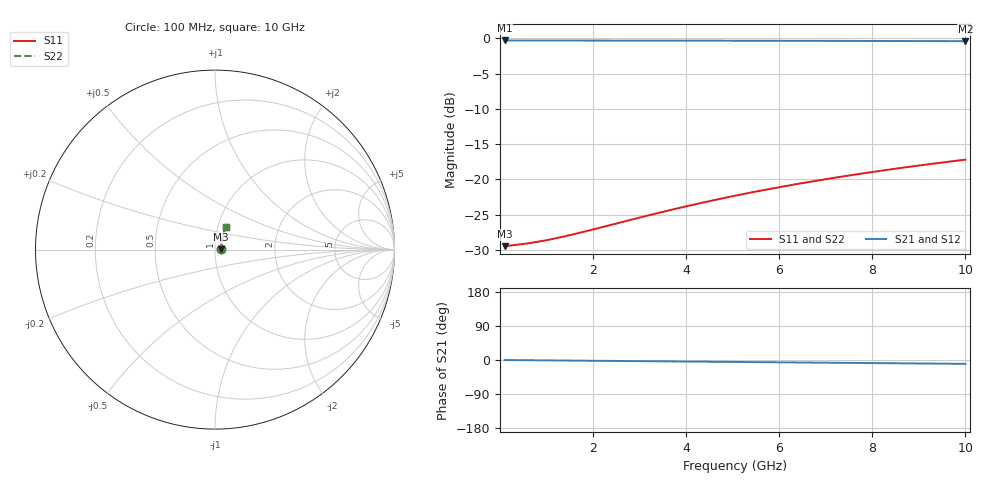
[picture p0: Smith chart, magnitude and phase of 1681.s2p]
# Hz S RI R 50.00
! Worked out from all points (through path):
!   100 points, 100 MHz to 10 GHz, reference 50 ohm
!   highest |S21| = -0.30 dB at 100 MHz (marker M1); lowest = -0.4 dB at 10 GHz (marker M2)
!   group delay of S21, straight-line fit = 2.81 ps
!   lowest |S11| = -29.5 dB at 100 MHz (marker M3), VSWR 1.07, Z = 53.5 + j0.138 ohm
!   |S11| at or under -10 dB: start of sweep to end of sweep
!   |S22| runs from -29.5 to -17.2 dB; largest |S21 - S12| = 0
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1e8  0.0336 0.00129  0.9664 -0.00172  0.9664 -0.00172  0.0336 0.00129
5e8  0.0343 0.00644  0.9657 -0.00858  0.9657 -0.00858  0.0343 0.00644
7e8  0.0345 0.00901  0.9655 -0.012  0.9655 -0.012  0.0345 0.00901
9e8  0.0347 0.0116  0.9653 -0.0154  0.9653 -0.0154  0.0347 0.0116
1.1e9  0.0349 0.0141  0.9651 -0.0189  0.9651 -0.0189  0.0349 0.0141
1.3e9  0.0351 0.0167  0.9648 -0.0223  0.9648 -0.0223  0.0351 0.0167
1.5e9  0.0354 0.0193  0.9646 -0.0257  0.9646 -0.0257  0.0354 0.0193
1.8e9  0.0357 0.0231  0.9642 -0.0308  0.9642 -0.0308  0.0357 0.0231
2.9e9  0.0372 0.0372  0.9627 -0.0496  0.9627 -0.0496  0.0372 0.0372
3.4e9  0.0381 0.0435  0.9618 -0.0581  0.9618 -0.0581  0.0381 0.0435
3.9e9  0.039 0.0499  0.9608 -0.0666  0.9608 -0.0666  0.039 0.0499
4.3e9  0.0398 0.0549  0.96 -0.0734  0.96 -0.0734  0.0398 0.0549
4.7e9  0.0407 0.06  0.9591 -0.0801  0.9591 -0.0801  0.0407 0.06
5.1e9  0.0417 0.065  0.9581 -0.0869  0.9581 -0.0869  0.0417 0.065
5.5e9  0.0427 0.07  0.957 -0.0936  0.957 -0.0936  0.0427 0.07
5.9e9  0.0438 0.075  0.9559 -0.1003  0.9559 -0.1003  0.0438 0.075
6.3e9  0.0449 0.08  0.9547 -0.107  0.9547 -0.107  0.0449 0.08
6.7e9  0.0462 0.085  0.9534 -0.1137  0.9534 -0.1137  0.0462 0.085
7.5e9  0.0488 0.0948  0.9506 -0.127  0.9506 -0.127  0.0488 0.0948
8.4e9  0.0521 0.1058  0.9472 -0.1419  0.9472 -0.1419  0.0521 0.1058
9.2e9  0.0553 0.1154  0.9439 -0.1549  0.9439 -0.1549  0.0553 0.1154
1e10  0.0588 0.125  0.9402 -0.1679  0.9402 -0.1679  0.0588 0.125
